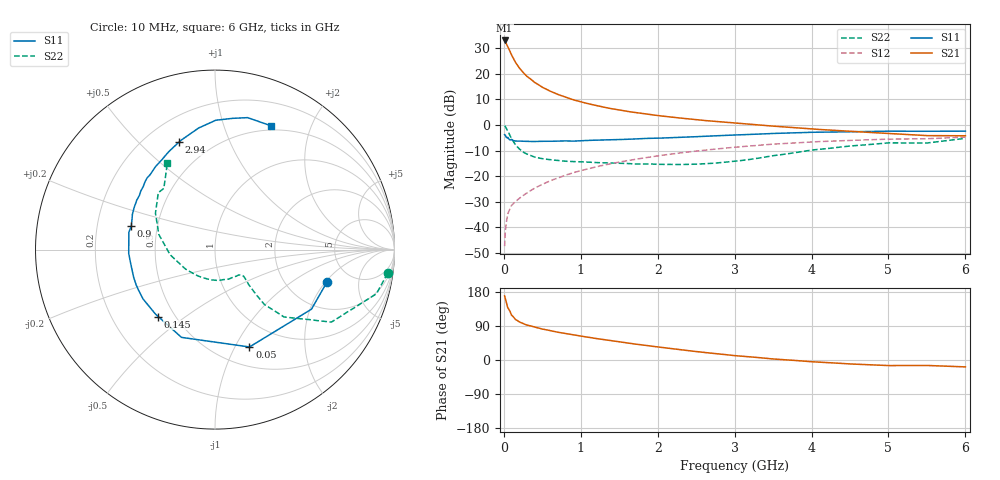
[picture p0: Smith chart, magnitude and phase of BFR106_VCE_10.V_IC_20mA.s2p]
! Infineon Technologies  Discrete & RF Semiconductors
! BFR106
! VCE =  10. V,  IC =  20 mA
! Common Emitter S-Parameters:  Nov 2015
# GHz  S  MA  R  50
!  f  S11  S21  S12  S22
! GHz  MAG  ANG  MAG  ANG  MAG  ANG  MAG  ANG
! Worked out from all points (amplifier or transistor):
!   210 points, 10 MHz to 6 GHz, reference 50 ohm
!   highest |S21| = 33.0 dB at 10 MHz (marker M1)
!   |S21| within 3 dB of that: start of sweep to 60.64 MHz
!   unconditionally stable (mu >= 1): 392.2 MHz to 2.116 GHz
!   at 185 MHz: K = 0.74, MSG = 26.0 dB, |S12| = -29.0 dB
!   at 1.52 GHz: K = 1.06, MAG = 8.6 dB, |S12| = -14.4 dB
!   at 6 GHz: K = 0.98, MSG = 0.3 dB, |S12| = -4.7 dB
!   S11 on the Smith chart (normalised r, x): 10 MHz: 3.29, -2.08; 50 MHz: 0.71, -1.15; 145 MHz: 0.41, -0.40; 900 MHz: 0.35, +0.12; 2.94 GHz: 0.33, +0.67; 6 GHz: 0.45, +1.46
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0.01  0.6489 -16.4  44.8 169.1  0.0043 80.7  0.9707 -7.8
0.02  0.6318 -31.7  42.71 160.5  0.0086 72.7  0.9326 -15.3
0.05  0.5755 -70.5  34.32 138.3  0.018 63.6  0.7641 -31.9
0.1  0.5235 -110.9  23.26 118.3  0.0269 55.2  0.5371 -44.3
0.145  0.4891 -130.3  17.39 108.5  0.0312 53.7  0.4232 -47.5
0.15  0.489 -132.6  16.77 107.0  0.0317 53.6  0.4106 -48.0
0.2  0.4861 -145.6  13.08 100.6  0.0368 55.8  0.3423 -47.6
0.24  0.4822 -152.6  11.1 96.8  0.0408 57.3  0.3051 -47.0
0.3  0.4786 -161.3  8.922 92.2  0.0471 60.4  0.2709 -46.1
0.4  0.4762 -170.2  6.799 86.7  0.0582 62.8  0.2362 -44.0
0.5  0.4812 -177.5  5.465 81.7  0.0692 64.9  0.2187 -42.8
0.6  0.4812 177.1  4.598 77.5  0.0808 66.0  0.2103 -43.4
0.7  0.4839 172.6  3.968 73.4  0.0922 66.6  0.2028 -44.7
0.9  0.4842 164.4  3.117 66.5  0.1166 66.5  0.1927 -47.2
1.02  0.4935 159.4  2.783 62.5  0.1307 66.0  0.1906 -50.4
1.4  0.5158 147.7  2.081 51.0  0.1762 63.3  0.1819 -62.3
2.02  0.5538 130.3  1.518 34.0  0.2519 56.6  0.1704 -89.8
2.94  0.6318 108.4  1.112 12.9  0.3608 44.4  0.1921 -143.5
3.1  0.6457 105.2  1.062 10.0  0.3784 42.0  0.2037 -153.0
4.1  0.7232 88.2  0.819 -5.6  0.4745 26.7  0.3343 161.2
5.1  0.756 74.8  0.671 -14.6  0.5312 12.5  0.4467 133.9
6  0.7573 65.5  0.616 -18.2  0.581 1.7  0.5488 119.0
